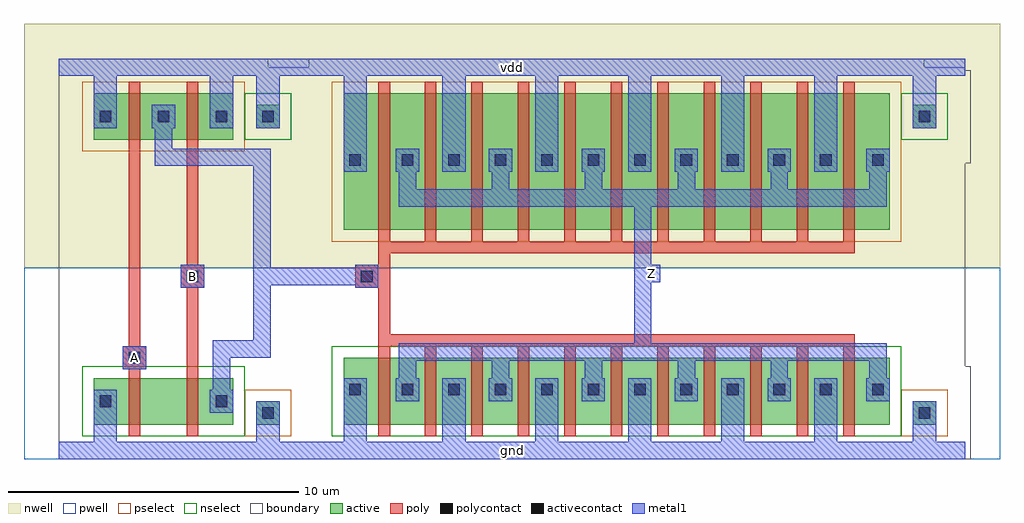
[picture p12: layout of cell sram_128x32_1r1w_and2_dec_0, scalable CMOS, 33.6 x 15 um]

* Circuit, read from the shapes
.subckt sram_128x32_1r1w_and2_dec_0 A B Z gnd vdd
M1 sram_128x32_1r1w_pnand2_0/sram_128x32_1r1w_nmos_m1_w1_600_sm1_dactive_2/D A gnd gnd nfet w=1.6u l=0.4u
M2 sram_128x32_1r1w_pinv_0_1/A B sram_128x32_1r1w_pnand2_0/sram_128x32_1r1w_nmos_m1_w1_600_sm1_dactive_2/D gnd nfet w=1.6u l=0.4u
M3 Z sram_128x32_1r1w_pinv_0_1/A gnd gnd nfet w=2.3u l=0.4u m=11
M4 sram_128x32_1r1w_pinv_0_1/A A vdd vdd pfet w=1.6u l=0.4u
M5 vdd B sram_128x32_1r1w_pinv_0_1/A vdd pfet w=1.6u l=0.4u
M6 Z sram_128x32_1r1w_pinv_0_1/A vdd vdd pfet w=4.7u l=0.4u m=11
.ends

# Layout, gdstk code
import gdstk
lib = gdstk.Library(unit=1e-6, precision=1e-09)
def R(c, l, rs):  # rectangles x0, y0, x1, y1
    for r in rs: c.add(gdstk.rectangle(r[:2], r[2:], *l))
def A(c, l, x, y, w, h, nx, ny, dx, dy):  # array of equal rectangles
    R(c, l, [(x+i*dx, y+j*dy, x+i*dx+w, y+j*dy+h) for i in range(nx) for j in range(ny)])
pwell = (41, 0)
nwell = (42, 0)
active = (43, 0)
pselect = (44, 0)
nselect = (45, 0)
poly = (46, 0)
polycontact = (47, 0)
activecontact = (48, 0)
metal1 = (49, 0)
boundary = (63, 0)

sram_128x32_1r1w_contact = lib.new_cell('sram_128x32_1r1w_contact_11')
R(sram_128x32_1r1w_contact, nwell, [(-1.2,-1.2,2,2)])
R(sram_128x32_1r1w_contact, active, [(0,0,0.8,0.8)])
R(sram_128x32_1r1w_contact, pselect, [(-0.4,-0.4,1.2,1.2)])
R(sram_128x32_1r1w_contact, activecontact, [(0.2,0.2,0.6,0.6)])
R(sram_128x32_1r1w_contact, metal1, [(0,0,0.8,0.8)])
R(sram_128x32_1r1w_contact, boundary, [(-1.2,-1.2,2,2)])

sram_128x32_1r1w_pmos_m1 = lib.new_cell('sram_128x32_1r1w_pmos_m1_w1_600_sm1_dm1')
R(sram_128x32_1r1w_pmos_m1, nwell, [(-1.2,-1.2,4,2.8)])
R(sram_128x32_1r1w_pmos_m1, active, [(0,0,2.8,1.6)])
R(sram_128x32_1r1w_pmos_m1, pselect, [(-0.4,-0.4,3.2,2)])
R(sram_128x32_1r1w_pmos_m1, poly, [(1.2,-0.4,1.6,2), (1.2,-0.4,1.6,2)])
R(sram_128x32_1r1w_pmos_m1, metal1, [(0,0.4,0.8,1.2), (2,0.4,2.8,1.2)])
R(sram_128x32_1r1w_pmos_m1, boundary, [(-1.2,-1.2,4,2.8)])
sram_128x32_1r1w_pmos_m1.add(gdstk.Reference(sram_128x32_1r1w_contact, (0,0.4)))
sram_128x32_1r1w_pmos_m1.add(gdstk.Reference(sram_128x32_1r1w_contact, (2,0.4)))
sram_128x32_1r1w_pmos_m1.add(gdstk.Label('G', (1.4,0.8), layer=46, texttype=0))
sram_128x32_1r1w_pmos_m1.add(gdstk.Label('S', (0.4,0.8), layer=49, texttype=0))
sram_128x32_1r1w_pmos_m1.add(gdstk.Label('D', (2.4,0.8), layer=49, texttype=0))

c_sram_128x32_1r1w_contact = lib.new_cell('sram_128x32_1r1w_contact_10')
R(c_sram_128x32_1r1w_contact, pwell, [(-1.2,-1.2,2,2)])
R(c_sram_128x32_1r1w_contact, active, [(0,0,0.8,0.8)])
R(c_sram_128x32_1r1w_contact, nselect, [(-0.4,-0.4,1.2,1.2)])
R(c_sram_128x32_1r1w_contact, activecontact, [(0.2,0.2,0.6,0.6)])
R(c_sram_128x32_1r1w_contact, metal1, [(0,0,0.8,0.8)])
R(c_sram_128x32_1r1w_contact, boundary, [(-1.2,-1.2,2,2)])

sram_128x32_1r1w_nmos_m1 = lib.new_cell('sram_128x32_1r1w_nmos_m1_w1_600_sm1_dactive')
R(sram_128x32_1r1w_nmos_m1, pwell, [(-1.2,-1.2,4,2.8)])
R(sram_128x32_1r1w_nmos_m1, active, [(0,0,2.8,1.6), (2.1,0.5,2.7,1.1)])
R(sram_128x32_1r1w_nmos_m1, nselect, [(-0.4,-0.4,3.2,2)])
R(sram_128x32_1r1w_nmos_m1, poly, [(1.2,-0.4,1.6,2), (1.2,-0.4,1.6,2)])
R(sram_128x32_1r1w_nmos_m1, metal1, [(0,0.4,0.8,1.2)])
R(sram_128x32_1r1w_nmos_m1, boundary, [(-1.2,-1.2,4,2.8)])
sram_128x32_1r1w_nmos_m1.add(gdstk.Reference(c_sram_128x32_1r1w_contact, (0,0.4)))
sram_128x32_1r1w_nmos_m1.add(gdstk.Label('G', (1.4,0.8), layer=46, texttype=0))
sram_128x32_1r1w_nmos_m1.add(gdstk.Label('S', (0.4,0.8), layer=49, texttype=0))
sram_128x32_1r1w_nmos_m1.add(gdstk.Label('D', (2.4,0.8), layer=43, texttype=0))

c_sram_128x32_1r1w_nmos_m1 = lib.new_cell('sram_128x32_1r1w_nmos_m1_w1_600_sactive_dm1')
R(c_sram_128x32_1r1w_nmos_m1, pwell, [(-1.2,-1.2,4,2.8)])
R(c_sram_128x32_1r1w_nmos_m1, active, [(0,0,2.8,1.6), (0.1,0.5,0.7,1.1)])
R(c_sram_128x32_1r1w_nmos_m1, nselect, [(-0.4,-0.4,3.2,2)])
R(c_sram_128x32_1r1w_nmos_m1, poly, [(1.2,-0.4,1.6,2), (1.2,-0.4,1.6,2)])
R(c_sram_128x32_1r1w_nmos_m1, metal1, [(2,0.4,2.8,1.2)])
R(c_sram_128x32_1r1w_nmos_m1, boundary, [(-1.2,-1.2,4,2.8)])
c_sram_128x32_1r1w_nmos_m1.add(gdstk.Reference(c_sram_128x32_1r1w_contact, (2,0.4)))
c_sram_128x32_1r1w_nmos_m1.add(gdstk.Label('G', (1.4,0.8), layer=46, texttype=0))
c_sram_128x32_1r1w_nmos_m1.add(gdstk.Label('S', (0.4,0.8), layer=43, texttype=0))
c_sram_128x32_1r1w_nmos_m1.add(gdstk.Label('D', (2.4,0.8), layer=49, texttype=0))

c_sram_128x32_1r1w_contact_ = lib.new_cell('sram_128x32_1r1w_contact_12')
R(c_sram_128x32_1r1w_contact_, nwell, [(-1.2,-1.2,2,2)])
R(c_sram_128x32_1r1w_contact_, active, [(0,0,0.8,0.8)])
R(c_sram_128x32_1r1w_contact_, nselect, [(-0.4,-0.4,1.2,1.2)])
R(c_sram_128x32_1r1w_contact_, activecontact, [(0.2,0.2,0.6,0.6)])
R(c_sram_128x32_1r1w_contact_, metal1, [(0,0,0.8,0.8)])
R(c_sram_128x32_1r1w_contact_, boundary, [(-1.2,-1.2,2,2)])

c_sram_128x32_1r1w_contact__ = lib.new_cell('sram_128x32_1r1w_contact_13')
R(c_sram_128x32_1r1w_contact__, pwell, [(-1.2,-1.2,2,2)])
R(c_sram_128x32_1r1w_contact__, active, [(0,0,0.8,0.8)])
R(c_sram_128x32_1r1w_contact__, pselect, [(-0.4,-0.4,1.2,1.2)])
R(c_sram_128x32_1r1w_contact__, activecontact, [(0.2,0.2,0.6,0.6)])
R(c_sram_128x32_1r1w_contact__, metal1, [(0,0,0.8,0.8)])
R(c_sram_128x32_1r1w_contact__, boundary, [(-1.2,-1.2,2,2)])

c_sram_128x32_1r1w_contact___ = lib.new_cell('sram_128x32_1r1w_contact_14')
R(c_sram_128x32_1r1w_contact___, poly, [(0,0,0.8,0.8)])
R(c_sram_128x32_1r1w_contact___, polycontact, [(0.2,0.2,0.6,0.6)])
R(c_sram_128x32_1r1w_contact___, metal1, [(0,0,0.8,0.8)])
R(c_sram_128x32_1r1w_contact___, boundary, [(0,0,0.8,0.8)])

sram_128x32_1r1w_pnand2 = lib.new_cell('sram_128x32_1r1w_pnand2')
R(sram_128x32_1r1w_pnand2, pwell, [(-1.2,-0.3,9.8,6.3)])
R(sram_128x32_1r1w_pnand2, nwell, [(-1.2,6.3,9.8,14.7)])
R(sram_128x32_1r1w_pnand2, poly, [(2.4,2.8,2.6,3.6), (2.4,2.9,2.8,10.3), (4.4,2.9,4.8,10.3), (4.4,5.6,4.6,6.4)])
R(sram_128x32_1r1w_pnand2, metal1, [(0,-0.3,8.6,0.3), (1.2,-0.3,2,1.3), (6.8,0,7.6,1.3), (5.3,2.1,5.9,3.5), (2.2,2.8,3,3.6), (5.3,3.2,5.9,3.8), (5.6,3.2,7,3.8), (6.7,3.2,7.3,3.8), (6.7,3.5,7.3,10.1), (4.2,5.6,5,6.4), (3.3,9.8,3.9,10.4), (3.6,9.8,7,10.4), (6.7,9.8,7.3,10.4), (3.3,10.1,3.9,11.1), (1.2,11.1,2,13.5), (5.2,11.1,6,13.5), (6.8,11.5,7.6,13.2), (0,12.9,8.6,13.5)])
R(sram_128x32_1r1w_pnand2, boundary, [(0,0,8.6,13.2), (0,0,8.6,13.2)])
sram_128x32_1r1w_pnand2.add(gdstk.Reference(sram_128x32_1r1w_pmos_m1, (1.2,10.7)))
sram_128x32_1r1w_pnand2.add(gdstk.Reference(sram_128x32_1r1w_pmos_m1, (3.2,10.7)))
sram_128x32_1r1w_pnand2.add(gdstk.Reference(sram_128x32_1r1w_nmos_m1, (1.2,0.9)))
sram_128x32_1r1w_pnand2.add(gdstk.Reference(c_sram_128x32_1r1w_nmos_m1, (3.2,0.9)))
sram_128x32_1r1w_pnand2.add(gdstk.Reference(c_sram_128x32_1r1w_contact_, (6.8,11.1)))
sram_128x32_1r1w_pnand2.add(gdstk.Reference(c_sram_128x32_1r1w_contact__, (6.8,0.9)))
sram_128x32_1r1w_pnand2.add(gdstk.Reference(c_sram_128x32_1r1w_contact___, (2.2,2.8)))
sram_128x32_1r1w_pnand2.add(gdstk.Reference(c_sram_128x32_1r1w_contact___, (4.2,5.6)))
sram_128x32_1r1w_pnand2.add(gdstk.Label('Z', (7,10.1), layer=49, texttype=0))
sram_128x32_1r1w_pnand2.add(gdstk.Label('gnd', (4.3,0), layer=49, texttype=0))
sram_128x32_1r1w_pnand2.add(gdstk.Label('vdd', (4.3,13.2), layer=49, texttype=0))
sram_128x32_1r1w_pnand2.add(gdstk.Label('A', (2.6,3.2), layer=49, texttype=0))
sram_128x32_1r1w_pnand2.add(gdstk.Label('B', (4.6,6), layer=49, texttype=0))

c_sram_128x32_1r1w_pmos_m1 = lib.new_cell('sram_128x32_1r1w_pmos_m11_w4_700_sm1_dm1_da_p')
R(c_sram_128x32_1r1w_pmos_m1, nwell, [(-1.2,-1.2,20,5.9)])
R(c_sram_128x32_1r1w_pmos_m1, active, [(0,0,18.8,4.7)])
R(c_sram_128x32_1r1w_pmos_m1, pselect, [(-0.4,-0.4,19.2,5.1)])
A(c_sram_128x32_1r1w_pmos_m1, poly, 1.2, -0.4, 0.4, 5.5, 11, 1, 1.6, 0)
R(c_sram_128x32_1r1w_pmos_m1, poly, [(1.2,-0.8,17.6,-0.4)])
A(c_sram_128x32_1r1w_pmos_m1, metal1, 1.9, 1, 0.6, 1.4, 5, 1, 3.2, 0)
A(c_sram_128x32_1r1w_pmos_m1, metal1, 3.4, 2, 0.8, 0.8, 5, 1, 3.2, 0)
R(c_sram_128x32_1r1w_pmos_m1, metal1, [(1.9,0.8,18.7,1.4), (18.1,1,18.7,2.4), (0,2,0.8,2.8)])
R(c_sram_128x32_1r1w_pmos_m1, boundary, [(-1.2,-1.2,20,5.9)])
c_sram_128x32_1r1w_pmos_m1.add(gdstk.Reference(sram_128x32_1r1w_contact, (0,2)))
c_sram_128x32_1r1w_pmos_m1.add(gdstk.Reference(sram_128x32_1r1w_contact, (1.8,2)))
c_sram_128x32_1r1w_pmos_m1.add(gdstk.Reference(sram_128x32_1r1w_contact, (3.4,2)))
c_sram_128x32_1r1w_pmos_m1.add(gdstk.Reference(sram_128x32_1r1w_contact, (5,2)))
c_sram_128x32_1r1w_pmos_m1.add(gdstk.Reference(sram_128x32_1r1w_contact, (6.6,2)))
c_sram_128x32_1r1w_pmos_m1.add(gdstk.Reference(sram_128x32_1r1w_contact, (8.2,2)))
c_sram_128x32_1r1w_pmos_m1.add(gdstk.Reference(sram_128x32_1r1w_contact, (9.8,2)))
c_sram_128x32_1r1w_pmos_m1.add(gdstk.Reference(sram_128x32_1r1w_contact, (11.4,2)))
c_sram_128x32_1r1w_pmos_m1.add(gdstk.Reference(sram_128x32_1r1w_contact, (13,2)))
c_sram_128x32_1r1w_pmos_m1.add(gdstk.Reference(sram_128x32_1r1w_contact, (14.6,2)))
c_sram_128x32_1r1w_pmos_m1.add(gdstk.Reference(sram_128x32_1r1w_contact, (16.2,2)))
c_sram_128x32_1r1w_pmos_m1.add(gdstk.Reference(sram_128x32_1r1w_contact, (18,2)))
c_sram_128x32_1r1w_pmos_m1.add(gdstk.Label('G', (9.4,-0.6), layer=46, texttype=0))
c_sram_128x32_1r1w_pmos_m1.add(gdstk.Label('S', (16.6,2.4), layer=49, texttype=0))
c_sram_128x32_1r1w_pmos_m1.add(gdstk.Label('S', (7,2.4), layer=49, texttype=0))
c_sram_128x32_1r1w_pmos_m1.add(gdstk.Label('S', (0.4,2.4), layer=49, texttype=0))
c_sram_128x32_1r1w_pmos_m1.add(gdstk.Label('S', (13.4,2.4), layer=49, texttype=0))
c_sram_128x32_1r1w_pmos_m1.add(gdstk.Label('S', (3.8,2.4), layer=49, texttype=0))
c_sram_128x32_1r1w_pmos_m1.add(gdstk.Label('S', (10.2,2.4), layer=49, texttype=0))
c_sram_128x32_1r1w_pmos_m1.add(gdstk.Label('D', (10.3,1.1), layer=49, texttype=0))

c_sram_128x32_1r1w_nmos_m1_ = lib.new_cell('sram_128x32_1r1w_nmos_m11_w2_300_sm1_dm1_da_p')
R(c_sram_128x32_1r1w_nmos_m1_, pwell, [(-1.2,-1.2,20,3.5)])
R(c_sram_128x32_1r1w_nmos_m1_, active, [(0,0,18.8,2.3)])
R(c_sram_128x32_1r1w_nmos_m1_, nselect, [(-0.4,-0.4,19.2,2.7)])
A(c_sram_128x32_1r1w_nmos_m1_, poly, 1.2, -0.4, 0.4, 3.1, 11, 1, 1.6, 0)
R(c_sram_128x32_1r1w_nmos_m1_, poly, [(1.2,2.7,17.6,3.1)])
A(c_sram_128x32_1r1w_nmos_m1_, metal1, 3.4, 0.8, 0.8, 0.8, 5, 1, 3.2, 0)
A(c_sram_128x32_1r1w_nmos_m1_, metal1, 1.9, 1.2, 0.6, 1.2, 5, 1, 3.2, 0)
R(c_sram_128x32_1r1w_nmos_m1_, metal1, [(0,0.8,0.8,1.6), (18.1,1.2,18.7,2.4), (1.9,2.2,18.7,2.8)])
R(c_sram_128x32_1r1w_nmos_m1_, boundary, [(-1.2,-1.2,20,3.5)])
c_sram_128x32_1r1w_nmos_m1_.add(gdstk.Reference(c_sram_128x32_1r1w_contact, (0,0.8)))
c_sram_128x32_1r1w_nmos_m1_.add(gdstk.Reference(c_sram_128x32_1r1w_contact, (1.8,0.8)))
c_sram_128x32_1r1w_nmos_m1_.add(gdstk.Reference(c_sram_128x32_1r1w_contact, (3.4,0.8)))
c_sram_128x32_1r1w_nmos_m1_.add(gdstk.Reference(c_sram_128x32_1r1w_contact, (5,0.8)))
c_sram_128x32_1r1w_nmos_m1_.add(gdstk.Reference(c_sram_128x32_1r1w_contact, (6.6,0.8)))
c_sram_128x32_1r1w_nmos_m1_.add(gdstk.Reference(c_sram_128x32_1r1w_contact, (8.2,0.8)))
c_sram_128x32_1r1w_nmos_m1_.add(gdstk.Reference(c_sram_128x32_1r1w_contact, (9.8,0.8)))
c_sram_128x32_1r1w_nmos_m1_.add(gdstk.Reference(c_sram_128x32_1r1w_contact, (11.4,0.8)))
c_sram_128x32_1r1w_nmos_m1_.add(gdstk.Reference(c_sram_128x32_1r1w_contact, (13,0.8)))
c_sram_128x32_1r1w_nmos_m1_.add(gdstk.Reference(c_sram_128x32_1r1w_contact, (14.6,0.8)))
c_sram_128x32_1r1w_nmos_m1_.add(gdstk.Reference(c_sram_128x32_1r1w_contact, (16.2,0.8)))
c_sram_128x32_1r1w_nmos_m1_.add(gdstk.Reference(c_sram_128x32_1r1w_contact, (18,0.8)))
c_sram_128x32_1r1w_nmos_m1_.add(gdstk.Label('G', (9.4,2.9), layer=46, texttype=0))
c_sram_128x32_1r1w_nmos_m1_.add(gdstk.Label('S', (0.4,1.2), layer=49, texttype=0))
c_sram_128x32_1r1w_nmos_m1_.add(gdstk.Label('S', (3.8,1.2), layer=49, texttype=0))
c_sram_128x32_1r1w_nmos_m1_.add(gdstk.Label('S', (7,1.2), layer=49, texttype=0))
c_sram_128x32_1r1w_nmos_m1_.add(gdstk.Label('S', (10.2,1.2), layer=49, texttype=0))
c_sram_128x32_1r1w_nmos_m1_.add(gdstk.Label('S', (13.4,1.2), layer=49, texttype=0))
c_sram_128x32_1r1w_nmos_m1_.add(gdstk.Label('S', (16.6,1.2), layer=49, texttype=0))
c_sram_128x32_1r1w_nmos_m1_.add(gdstk.Label('D', (10.3,2.5), layer=49, texttype=0))

sram_128x32_1r1w_pinv_0 = lib.new_cell('sram_128x32_1r1w_pinv_0')
R(sram_128x32_1r1w_pinv_0, pwell, [(-1.2,-0.3,23.8,6.3)])
R(sram_128x32_1r1w_pinv_0, nwell, [(-1.2,6.3,23.8,14.7)])
R(sram_128x32_1r1w_pinv_0, poly, [(2.4,4,2.8,6.8), (2,5.6,2.4,6.4)])
A(sram_128x32_1r1w_pinv_0, metal1, 4.6, -0.3, 0.8, 2, 5, 1, 3.2, 0)
A(sram_128x32_1r1w_pinv_0, metal1, 4.6, 9.6, 0.8, 3.9, 5, 1, 3.2, 0)
R(sram_128x32_1r1w_pinv_0, metal1, [(0,-0.3,22.6,0.3), (1.2,-0.3,2,1.7), (20.8,0,21.6,1.3), (11.2,3.1,11.8,9), (1.6,5.6,2.4,6.4), (11.5,5.8,12.1,6.4), (1.2,9.6,2,13.5), (20.8,11.5,21.6,13.2), (0,12.9,22.6,13.5)])
R(sram_128x32_1r1w_pinv_0, boundary, [(0,0,22.6,13.2), (0,0,22.6,13.2)])
sram_128x32_1r1w_pinv_0.add(gdstk.Reference(c_sram_128x32_1r1w_pmos_m1, (1.2,7.6)))
sram_128x32_1r1w_pinv_0.add(gdstk.Reference(c_sram_128x32_1r1w_nmos_m1_, (1.2,0.9)))
sram_128x32_1r1w_pinv_0.add(gdstk.Reference(c_sram_128x32_1r1w_contact_, (20.8,11.1)))
sram_128x32_1r1w_pinv_0.add(gdstk.Reference(c_sram_128x32_1r1w_contact__, (20.8,0.9)))
sram_128x32_1r1w_pinv_0.add(gdstk.Reference(c_sram_128x32_1r1w_contact___, (1.6,5.6)))
sram_128x32_1r1w_pinv_0.add(gdstk.Label('A', (2,6), layer=49, texttype=0))
sram_128x32_1r1w_pinv_0.add(gdstk.Label('Z', (11.8,6.1), layer=49, texttype=0))
sram_128x32_1r1w_pinv_0.add(gdstk.Label('gnd', (11.3,0), layer=49, texttype=0))
sram_128x32_1r1w_pinv_0.add(gdstk.Label('vdd', (11.3,13.2), layer=49, texttype=0))

sram_128x32_1r1w_and2_de = lib.new_cell('sram_128x32_1r1w_and2_dec_0')
R(sram_128x32_1r1w_and2_de, metal1, [(0,-0.3,31.2,0.3), (2.2,2.8,3,3.6), (4.2,5.6,5,6.4), (6.7,5.7,7.3,6.3), (7,5.7,10.6,6.3), (20.1,5.8,20.7,6.4), (6.7,6,7.3,10.1), (0,12.9,31.2,13.5)])
R(sram_128x32_1r1w_and2_de, boundary, [(0,0,31.2,13.2)])
sram_128x32_1r1w_and2_de.add(gdstk.Reference(sram_128x32_1r1w_pnand2, (0,0)))
sram_128x32_1r1w_and2_de.add(gdstk.Reference(sram_128x32_1r1w_pinv_0, (8.6,0)))
sram_128x32_1r1w_and2_de.add(gdstk.Label('Z', (20.4,6.1), layer=49, texttype=0))
sram_128x32_1r1w_and2_de.add(gdstk.Label('A', (2.6,3.2), layer=49, texttype=0))
sram_128x32_1r1w_and2_de.add(gdstk.Label('B', (4.6,6), layer=49, texttype=0))
sram_128x32_1r1w_and2_de.add(gdstk.Label('gnd', (15.6,0), layer=49, texttype=0))
sram_128x32_1r1w_and2_de.add(gdstk.Label('vdd', (15.6,13.2), layer=49, texttype=0))

lib.write_gds('sram_128x32_1r1w_and2_dec_0.gds')
